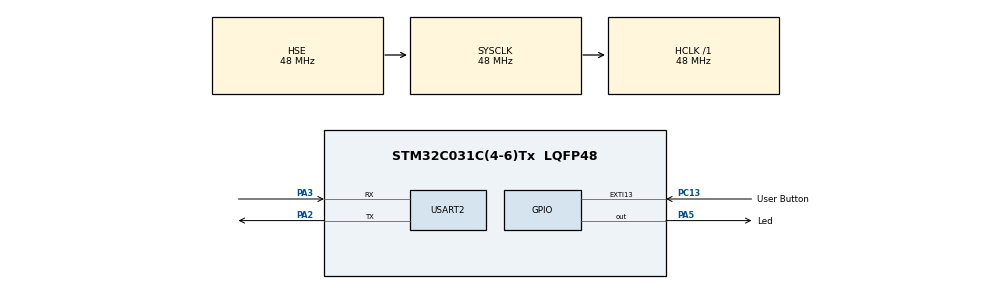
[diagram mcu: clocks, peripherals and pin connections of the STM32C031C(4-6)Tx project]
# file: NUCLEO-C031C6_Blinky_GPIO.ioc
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Mcu.Family=STM32C0
Mcu.Name=STM32C031C(4-6)Tx
Mcu.Package=LQFP48
NVIC.EXTI4_15_IRQn=true\:0\:0\:false\:false\:true\:true\:true\:true
PA13.Mode=Serial_Wire
PA13.Signal=DEBUG_SWDIO
PA14-BOOT0.Mode=Serial_Wire
PA14-BOOT0.Signal=DEBUG_SWCLK
PA2.Mode=Asynchronous
PA2.Signal=USART2_TX
PA3.Mode=Asynchronous
PA3.Signal=USART2_RX
PA5.GPIO_Label=Led
PA5.GPIO_Speed=GPIO_SPEED_FREQ_VERY_HIGH
PA5.PinState=GPIO_PIN_SET
PA5.Signal=GPIO_Output
PC13.GPIO_Label=User Button
PC13.Signal=GPXTI13
PC14-OSCX_IN\ (PC14).Mode=LSE-External-Oscillator
PC14-OSCX_IN\ (PC14).Signal=RCC_OSCX_IN
PC15-OSCX_OUT\ (PC15).Mode=LSE-External-Oscillator
PC15-OSCX_OUT\ (PC15).Signal=RCC_OSCX_OUT
PF0-OSC_IN\ (PF0).Mode=HSE-External-Oscillator
PF0-OSC_IN\ (PF0).Signal=RCC_OSC_IN
PF1-OSC_OUT\ (PF1).Mode=HSE-External-Oscillator
PF1-OSC_OUT\ (PF1).Signal=RCC_OSC_OUT
ProjectManager.HeapSize=0x200
ProjectManager.StackSize=0x400
ProjectManager.TargetToolchain=STM32CubeIDE
RCC.ADCFreq_Value=48000000
RCC.AHBFreq_Value=48000000
RCC.CortexFreq_Value=48000000
RCC.EXTERNAL_CLOCK_VALUE=12288000
RCC.HCLKFreq_Value=48000000
RCC.HSE_VALUE=48000000
RCC.HSISYSCLKDivider=RCC_HSI_DIV1
RCC.HSI_VALUE=48000000
RCC.SYSCLKFreq_VALUE=48000000
RCC.SYSCLKSource=RCC_SYSCLKSOURCE_HSE
USART2.VirtualMode-Asynchronous=VM_ASYNC
board=NUCLEO-C031C6

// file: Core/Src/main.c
/* USER CODE BEGIN Header */
/**
  ******************************************************************************
  * @file           : main.c
  * @brief          : Main program body
  ******************************************************************************
  * @attention
  *
  * Copyright (c) 2023 STMicroelectronics.
  * All rights reserved.
  *
  * This software is licensed under terms that can be found in the LICENSE file
  * in the root directory of this software component.
  * If no LICENSE file comes with this software, it is provided AS-IS.
  *
  ******************************************************************************
  */
/* USER CODE END Header */
#include "main.h"

/* USER CODE BEGIN Includes */
#include <stdio.h> // printf()
/* USER CODE END Includes */

UART_HandleTypeDef huart2;

void SystemClock_Config(void);
static void MX_GPIO_Init(void);
static void MX_USART2_UART_Init(void);

/* USER CODE BEGIN 0 */
#define HAL_SMALL_DELAY  50
// Define serial input and output functions using UART2
int __io_putchar(int ch)
{
	uint8_t data_byte = ch;
    HAL_UART_Transmit(&huart2, &data_byte, 1, HAL_SMALL_DELAY); // infinite delay value
    return 1;
}

// Read a character from the UART with small timeout
// This function works well if called within a 50ms or shorter loop, but may lose characters if
// data is received with any real speed.
// Use DMA for receive data if trying to perform higher speed communication (anything faster than typing).
// If HAL_UART_Receive() returns error, return EOF (-1), else return the character read
int __io_getchar(void)
{
    uint8_t byte;
    HAL_StatusTypeDef hal_status = HAL_UART_Receive(&huart2, &byte, sizeof(byte), HAL_SMALL_DELAY);
    if(HAL_OK == hal_status)
    {
        return byte;
    }
    else
        return EOF;
}
/* USER CODE END 0 */

int main(void)
{

  /* MCU Configuration--------------------------------------------------------*/

  /* Reset of all peripherals, Initializes the Flash interface and the Systick. */
  HAL_Init();

  /* Configure the system clock */
  SystemClock_Config();

  /* Initialize all configured peripherals */
  MX_GPIO_Init();
  MX_USART2_UART_Init();
  /* USER CODE BEGIN 2 */
  // Disable stdout buffering
  setvbuf(stdout, NULL, _IONBF, 0);
  /* USER CODE END 2 */

  /* Infinite loop */
  /* USER CODE BEGIN WHILE */
  while (1)
  {
	//=============================================================================================
	// Toggle LED GPIO Pin
	HAL_GPIO_TogglePin (Led_GPIO_Port, Led_Pin);
	HAL_Delay(500);
	//=============================================================================================

    /* USER CODE END WHILE */

  }
}

void SystemClock_Config(void)
{
  RCC_OscInitTypeDef RCC_OscInitStruct = {0};
  RCC_ClkInitTypeDef RCC_ClkInitStruct = {0};

  /** Initializes the RCC Oscillators according to the specified parameters
  * in the RCC_OscInitTypeDef structure.
  */
  RCC_OscInitStruct.OscillatorType = RCC_OSCILLATORTYPE_HSE;
  RCC_OscInitStruct.HSEState = RCC_HSE_ON;
  if (HAL_RCC_OscConfig(&RCC_OscInitStruct) != HAL_OK)
  {
    Error_Handler();
  }

  /** Initializes the CPU, AHB and APB buses clocks
  */
  RCC_ClkInitStruct.ClockType = RCC_CLOCKTYPE_HCLK|RCC_CLOCKTYPE_SYSCLK
                              |RCC_CLOCKTYPE_PCLK1;
  RCC_ClkInitStruct.SYSCLKSource = RCC_SYSCLKSOURCE_HSE;
  RCC_ClkInitStruct.SYSCLKDivider = RCC_SYSCLK_DIV1;
  RCC_ClkInitStruct.AHBCLKDivider = RCC_HCLK_DIV1;
  RCC_ClkInitStruct.APB1CLKDivider = RCC_APB1_DIV1;

  if (HAL_RCC_ClockConfig(&RCC_ClkInitStruct, FLASH_LATENCY_1) != HAL_OK)
  {
    Error_Handler();
  }
}

static void MX_USART2_UART_Init(void)
{

  huart2.Instance = USART2;
  huart2.Init.BaudRate = 115200;
  huart2.Init.WordLength = UART_WORDLENGTH_8B;
  huart2.Init.StopBits = UART_STOPBITS_1;
  huart2.Init.Parity = UART_PARITY_NONE;
  huart2.Init.Mode = UART_MODE_TX_RX;
  huart2.Init.HwFlowCtl = UART_HWCONTROL_NONE;
  huart2.Init.OverSampling = UART_OVERSAMPLING_16;
  huart2.Init.OneBitSampling = UART_ONE_BIT_SAMPLE_DISABLE;
  huart2.Init.ClockPrescaler = UART_PRESCALER_DIV1;
  huart2.AdvancedInit.AdvFeatureInit = UART_ADVFEATURE_NO_INIT;
  if (HAL_UART_Init(&huart2) != HAL_OK)
  {
    Error_Handler();
  }

}

static void MX_GPIO_Init(void)
{
  GPIO_InitTypeDef GPIO_InitStruct = {0};

  /* GPIO Ports Clock Enable */
  __HAL_RCC_GPIOC_CLK_ENABLE();
  __HAL_RCC_GPIOF_CLK_ENABLE();
  __HAL_RCC_GPIOA_CLK_ENABLE();

  /*Configure GPIO pin Output Level */
  HAL_GPIO_WritePin(Led_GPIO_Port, Led_Pin, GPIO_PIN_SET);

  /*Configure GPIO pin : User_Button_Pin */
  GPIO_InitStruct.Pin = User_Button_Pin;
  GPIO_InitStruct.Mode = GPIO_MODE_IT_RISING;
  GPIO_InitStruct.Pull = GPIO_NOPULL;
  HAL_GPIO_Init(User_Button_GPIO_Port, &GPIO_InitStruct);

  /*Configure GPIO pin : Led_Pin */
  GPIO_InitStruct.Pin = Led_Pin;
  GPIO_InitStruct.Mode = GPIO_MODE_OUTPUT_PP;
  GPIO_InitStruct.Pull = GPIO_NOPULL;
  GPIO_InitStruct.Speed = GPIO_SPEED_FREQ_VERY_HIGH;
  HAL_GPIO_Init(Led_GPIO_Port, &GPIO_InitStruct);

  /* EXTI interrupt init*/
  HAL_NVIC_SetPriority(EXTI4_15_IRQn, 0, 0);
  HAL_NVIC_EnableIRQ(EXTI4_15_IRQn);

}

void Error_Handler(void)
{
  __disable_irq();
  while (1)
  {
  }
}
